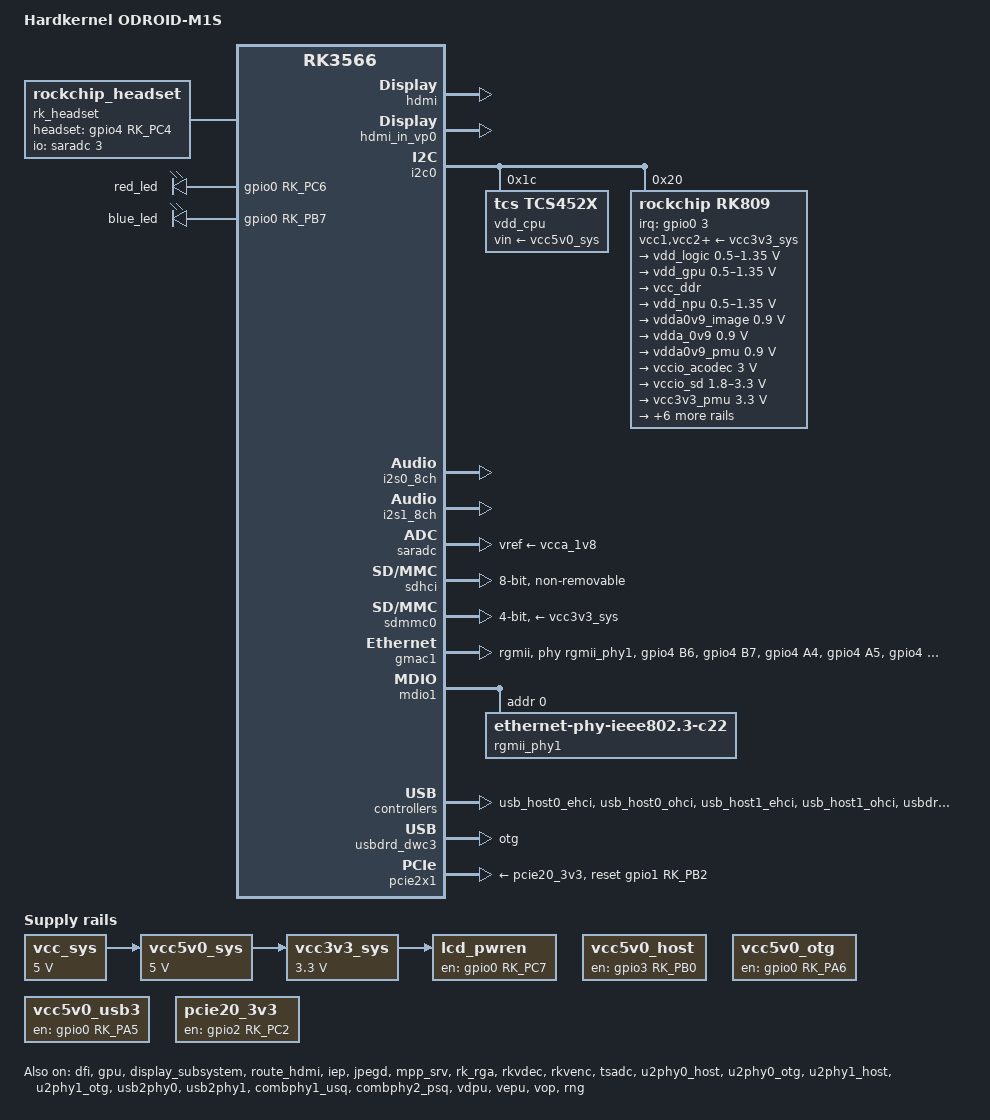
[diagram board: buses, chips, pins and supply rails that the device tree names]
// SPDX-License-Identifier: (GPL-2.0+ OR MIT)
/*
 * Copyright (c) 2023 Hardkernel Co., Ltd.
 *
 */

/dts-v1/;

#include <dt-bindings/gpio/gpio.h>
#include <dt-bindings/pwm/pwm.h>
#include <dt-bindings/pinctrl/rockchip.h>
#include <dt-bindings/input/rk-input.h>
#include <dt-bindings/display/drm_mipi_dsi.h>
#include <dt-bindings/sensor-dev.h>
#include "rk3566.dtsi"

/ {
	model = "Hardkernel ODROID-M1S";
	compatible = "rockchip,rk3566";

	aliases {
		serial0 = &uart6;
		serial1 = &uart0;
		serial6 = &uart1;
		spi0 = &spi1;
		spi1 = &spi0;
		i2c0 = &i2c3;
		i2c3 = &i2c0;
	};

	backlight: backlight {
		compatible = "pwm-backlight";
		status = "disabled";

		pwms = <&pwm4 0 25000 0>;
		brightness-levels = <
			0  20  20  21  21  22  22  23
			23  24  24  25  25  26  26  27
			27  28  28  29  29  30  30  31
			31  32  32  33  33  34  34  35
			35  36  36  37  37  38  38  39
			40  41  42  43  44  45  46  47
			48  49  50  51  52  53  54  55
			56  57  58  59  60  61  62  63
			64  65  66  67  68  69  70  71
			72  73  74  75  76  77  78  79
			80  81  82  83  84  85  86  87
			88  89  90  91  92  93  94  95
			96  97  98  99 100 101 102 103
			104 105 106 107 108 109 110 111
			112 113 114 115 116 117 118 119
			120 121 122 123 124 125 126 127
			128 129 130 131 132 133 134 135
			136 137 138 139 140 141 142 143
			144 145 146 147 148 149 150 151
			152 153 154 155 156 157 158 159
			160 161 162 163 164 165 166 167
			168 169 170 171 172 173 174 175
			176 177 178 179 180 181 182 183
			184 185 186 187 188 189 190 191
			192 193 194 195 196 197 198 199
			200 201 202 203 204 205 206 207
			208 209 210 211 212 213 214 215
			216 217 218 219 220 221 222 223
			224 225 226 227 228 229 230 231
			232 233 234 235 236 237 238 239
			240 241 242 243 244 245 246 247
			248 249 250 251 252 253 254 255
			>;
		default-brightness-level = <200>;
	};

	fiq_debugger: fiq-debugger {
		compatible = "rockchip,fiq-debugger";
		rockchip,serial-id = <2>;
		rockchip,wake-irq = <0>;
		/* If enable uart uses irq instead of fiq */
		rockchip,irq-mode-enable = <1>;
		rockchip,baudrate = <1500000>;  /* Only 115200 and 1500000 */
		interrupts = <GIC_SPI 252 IRQ_TYPE_LEVEL_LOW>;
		pinctrl-names = "default";
		pinctrl-0 = <&uart2m0_xfer>;
		status = "okay";
	};

	debug: debug@fd904000 {
		compatible = "rockchip,debug";
		reg = <0x0 0xfd904000 0x0 0x1000>,
			<0x0 0xfd905000 0x0 0x1000>,
			<0x0 0xfd906000 0x0 0x1000>,
			<0x0 0xfd907000 0x0 0x1000>;
	};

	cspmu: cspmu@fd90c000 {
		compatible = "rockchip,cspmu";
		reg = <0x0 0xfd90c000 0x0 0x1000>,
			<0x0 0xfd90d000 0x0 0x1000>,
			<0x0 0xfd90e000 0x0 0x1000>,
			<0x0 0xfd90f000 0x0 0x1000>;
	};

	hdmi_sound: hdmi-sound {
		compatible = "simple-audio-card";
		simple-audio-card,format = "i2s";
		simple-audio-card,mclk-fs = <128>;
		simple-audio-card,name = "rockchip-hdmi0";
		status = "okay";

		simple-audio-card,cpu {
			sound-dai = <&i2s0_8ch>;
		};
		simple-audio-card,codec {
			sound-dai = <&hdmi>;
		};
	};

	pdmics: dummy-codec {
		status = "disabled";
		compatible = "rockchip,dummy-codec";
		#sound-dai-cells = <0>;
	};

	pdm_mic_array: pdm-mic-array {
		status = "disabled";
		compatible = "simple-audio-card";
		simple-audio-card,name = "rockchip,pdm-mic-array";
		simple-audio-card,cpu {
			sound-dai = <&pdm>;
		};
		simple-audio-card,codec {
			sound-dai = <&pdmics>;
		};
	};

	rk809_sound: rk809-sound {
		status = "okay";
		compatible = "simple-audio-card";
		simple-audio-card,format = "i2s";
		simple-audio-card,name = "rockchip-rk809";
		simple-audio-card,mclk-fs = <256>;

		simple-audio-card,cpu {
			sound-dai = <&i2s1_8ch>;
		};
		simple-audio-card,codec {
			sound-dai = <&rk809_codec>;
		};
	};

	spdif_sound: spdif-sound {
		status = "disabled";
		compatible = "simple-audio-card";
		simple-audio-card,name = "ROCKCHIP,SPDIF";
		simple-audio-card,cpu {
			sound-dai = <&spdif_8ch>;
		};
		simple-audio-card,codec {
			sound-dai = <&spdif_out>;
		};
	};

	spdif_out: spdif-out {
		status = "disabled";
		compatible = "linux,spdif-dit";
		#sound-dai-cells = <0>;
	};

	rk_headset: rk-headset {
		compatible = "rockchip_headset";
		headset_gpio = <&gpio4 RK_PC4 GPIO_ACTIVE_HIGH>;
		pinctrl-names = "default";
		pinctrl-0 = <&hp_det>;
		io-channels = <&saradc 3>;	//HP_HOOK
	};

	rk3566-gpiomem {
		compatible = "rockchip,rk3566-gpiomem", "rockchip,rk3568-gpiomem";
		status = "okay";
	};

	vcc_sys: vcc-5v {
		compatible = "regulator-fixed";
		regulator-name = "vcc-5v";
		regulator-always-on;
		regulator-boot-on;
		regulator-min-microvolt = <5000000>;
		regulator-max-microvolt = <5000000>;
	};

	vcc3v3_sys: vcc3v3-sys {
		compatible = "regulator-fixed";
		regulator-name = "vcc3v3_sys";
		regulator-always-on;
		regulator-boot-on;
		regulator-min-microvolt = <3300000>;
		regulator-max-microvolt = <3300000>;
		vin-supply = <&vcc5v0_sys>;
	};

	vcc5v0_sys: vcc5v0-sys {
		compatible = "regulator-fixed";
		regulator-name = "vcc5v0_sys";
		regulator-always-on;
		regulator-boot-on;
		regulator-min-microvolt = <5000000>;
		regulator-max-microvolt = <5000000>;
		vin-supply = <&vcc_sys>;
	};

	vcc5v0_host: vcc5v0-host-regulator {
		compatible = "regulator-fixed";
		enable-active-high;
		gpio = <&gpio3 RK_PB0 GPIO_ACTIVE_HIGH>;
		pinctrl-names = "default";
		pinctrl-0 = <&vcc5v0_host_en>;
		regulator-name = "vcc5v0_host";
		regulator-always-on;
		regulator-boot-on;
	};

	vcc5v0_otg: vcc5v0-otg-regulator {
		compatible = "regulator-fixed";
		enable-active-high;
		gpio = <&gpio0 RK_PA6 GPIO_ACTIVE_HIGH>;
		pinctrl-names = "default";
		pinctrl-0 = <&vcc5v0_otg_en>;
		regulator-name = "vcc5v0_otg";
	};

	vcc5v0_usb3: vcc5v0-usb3-regulator {
		compatible = "regulator-fixed";
		enable-active-high;
		gpios = <&gpio0 RK_PA5 GPIO_ACTIVE_HIGH>;
		pinctrl-names = "default";
		pinctrl-0 = <&vcc5v0_usb3_en>;
		regulator-name = "vcc5v0_usb3";
		regulator-always-on;
		regulator-boot-on;
	};

	pcie20_3v3: pcie20-3v3-regulator {
		compatible = "regulator-fixed";
		enable-active-high;
		gpios = <&gpio2 RK_PC2 GPIO_ACTIVE_HIGH>;
		pinctrl-names = "default";
		pinctrl-0 = <&pcie20_3v3_en>;
		regulator-name = "pcie20_3v3";
		regulator-always-on;
		regulator-boot-on;
	};

	lcd_pwren: lcd-pwren {
		compatible = "regulator-fixed";
		regulator-name = "lcd_pwren";
		enable-active-high;
		gpio = <&gpio0 RK_PC7 GPIO_ACTIVE_HIGH>;
		pinctrl-names = "default";
		pinctrl-0 = <&lcd_pwr_en>;
		regulator-always-on;
		regulator-boot-on;
		vin-supply = <&vcc3v3_sys>;
	};


	leds {
		compatible = "gpio-leds";
		status = "okay";

		red_led: red {
			gpios = <&gpio0 RK_PC6 GPIO_ACTIVE_HIGH>;
			linux,default-trigger = "default-on";
		};
		blue_led: blue {
			gpios = <&gpio0 RK_PB7 GPIO_ACTIVE_HIGH>;
			linux,default-trigger = "heartbeat";
		};
	};
};

&can0 {
	compatible = "rockchip,canfd-1.0";
	pinctrl-names = "default";
	pinctrl-0 = <&can0m0_pins>;
	assigned-clocks = <&cru CLK_CAN0>;
	assigned-clock-rates = <200000000>;
	status = "disabled";
};

&cpu0 {
	cpu-supply = <&vdd_cpu>;
};

&threshold {
	temperature = <60000>;
};

&dfi {
	status = "okay";
};

&gpu {
	mali-supply = <&vdd_gpu>;
	status = "okay";
};

&display_subsystem {
    status = "okay";
};

&hdmi {
	status = "okay";
};

&hdmi_in_vp0 {
	status = "okay";
};

&hdmi_in_vp1 {
	status = "disabled";
};

&hdmi_sound {
	status = "okay";
};

&route_hdmi {
	status = "okay";
	connect = <&vp0_out_hdmi>;
};

&i2c0 {
	status = "okay";
	vdd_cpu: tcs4525@1c {
		compatible = "tcs,tcs452x";
		reg = <0x1c>;
		vin-supply = <&vcc5v0_sys>;
		regulator-compatible = "fan53555-reg";
		regulator-name = "vdd_cpu";
		regulator-min-microvolt = <712500>;
		regulator-max-microvolt = <1390000>;
		regulator-init-microvolt = <900000>;
		regulator-ramp-delay = <2300>;
		fcs,suspend-voltage-selector = <1>;
		regulator-boot-on;
		regulator-always-on;
		regulator-state-mem {
			regulator-off-in-suspend;
		};
	};

	rk809: pmic@20 {
		compatible = "rockchip,rk809";
		reg = <0x20>;
		interrupt-parent = <&gpio0>;
		interrupts = <3 IRQ_TYPE_LEVEL_LOW>;

		pinctrl-names = "default", "pmic-sleep",
				"pmic-power-off", "pmic-reset";
		pinctrl-0 = <&pmic_int>;
		pinctrl-1 = <&soc_slppin_slp>, <&rk817_slppin_slp>;
		pinctrl-2 = <&soc_slppin_gpio>, <&rk817_slppin_pwrdn>;
		pinctrl-3 = <&soc_slppin_gpio>, <&rk817_slppin_rst>;

		rockchip,system-power-controller;
		wakeup-source;
		#clock-cells = <1>;
		clock-output-names = "rk808-clkout1", "rk808-clkout2";
		//fb-inner-reg-idxs = <2>;
		/* 1: rst regs (default in codes), 0: rst the pmic */
		pmic-reset-func = <0>;
		/* not save the PMIC_POWER_EN register in uboot */
		not-save-power-en = <1>;

		vcc1-supply = <&vcc3v3_sys>;
		vcc2-supply = <&vcc3v3_sys>;
		vcc3-supply = <&vcc3v3_sys>;
		vcc4-supply = <&vcc3v3_sys>;
		vcc5-supply = <&vcc3v3_sys>;
		vcc6-supply = <&vcc3v3_sys>;
		vcc7-supply = <&vcc3v3_sys>;
		vcc8-supply = <&vcc3v3_sys>;
		vcc9-supply = <&vcc3v3_sys>;

		pwrkey {
			status = "okay";
		};

		pinctrl_rk8xx: pinctrl_rk8xx {
			gpio-controller;
			#gpio-cells = <2>;

			rk817_slppin_null: rk817_slppin_null {
				pins = "gpio_slp";
				function = "pin_fun0";
			};

			rk817_slppin_slp: rk817_slppin_slp {
				pins = "gpio_slp";
				function = "pin_fun1";
			};

			rk817_slppin_pwrdn: rk817_slppin_pwrdn {
				pins = "gpio_slp";
				function = "pin_fun2";
			};

			rk817_slppin_rst: rk817_slppin_rst {
				pins = "gpio_slp";
				function = "pin_fun3";
			};
		};

		regulators {
			vdd_logic: DCDC_REG1 {
				regulator-always-on;
				regulator-boot-on;
				regulator-min-microvolt = <500000>;
				regulator-max-microvolt = <1350000>;
				regulator-init-microvolt = <900000>;
				regulator-ramp-delay = <6001>;
				regulator-initial-mode = <0x2>;
				regulator-name = "vdd_logic";
				regulator-state-mem {
					regulator-off-in-suspend;
				};
			};

			vdd_gpu: DCDC_REG2 {
				regulator-always-on;
				regulator-boot-on;
				regulator-min-microvolt = <500000>;
				regulator-max-microvolt = <1350000>;
				regulator-init-microvolt = <900000>;
				regulator-ramp-delay = <6001>;
				regulator-initial-mode = <0x2>;
				regulator-name = "vdd_gpu";
				regulator-state-mem {
					regulator-off-in-suspend;
				};
			};

			vcc_ddr: DCDC_REG3 {
				regulator-always-on;
				regulator-boot-on;
				regulator-initial-mode = <0x2>;
				regulator-name = "vcc_ddr";
				regulator-state-mem {
					regulator-on-in-suspend;
				};
			};

			vdd_npu: DCDC_REG4 {
				regulator-always-on;
				regulator-boot-on;
				regulator-min-microvolt = <500000>;
				regulator-max-microvolt = <1350000>;
				regulator-init-microvolt = <900000>;
				regulator-ramp-delay = <6001>;
				regulator-initial-mode = <0x2>;
				regulator-name = "vdd_npu";
				regulator-state-mem {
					regulator-off-in-suspend;
				};
			};

			vdda0v9_image: LDO_REG1 {
				regulator-boot-on;
				regulator-always-on;
				regulator-min-microvolt = <900000>;
				regulator-max-microvolt = <900000>;
				regulator-name = "vdda0v9_image";
				regulator-state-mem {
					regulator-off-in-suspend;
				};
			};

			vdda_0v9: LDO_REG2 {
				regulator-always-on;
				regulator-boot-on;
				regulator-min-microvolt = <900000>;
				regulator-max-microvolt = <900000>;
				regulator-name = "vdda_0v9";
				regulator-state-mem {
					regulator-off-in-suspend;
				};
			};

			vdda0v9_pmu: LDO_REG3 {
				regulator-always-on;
				regulator-boot-on;
				regulator-min-microvolt = <900000>;
				regulator-max-microvolt = <900000>;
				regulator-name = "vdda0v9_pmu";
				regulator-state-mem {
					regulator-on-in-suspend;
					regulator-suspend-microvolt = <900000>;
				};
			};

			vccio_acodec: LDO_REG4 {
				regulator-always-on;
				regulator-boot-on;
				regulator-min-microvolt = <3000000>;
				regulator-max-microvolt = <3000000>;
				regulator-name = "vccio_acodec";
				regulator-state-mem {
					regulator-off-in-suspend;
				};
			};

			vccio_sd: LDO_REG5 {
				regulator-always-on;
				regulator-boot-on;
				regulator-min-microvolt = <1800000>;
				regulator-max-microvolt = <3300000>;
				regulator-name = "vccio_sd";
				regulator-state-mem {
					regulator-off-in-suspend;
				};
			};

			vcc3v3_pmu: LDO_REG6 {
				regulator-always-on;
				regulator-boot-on;
				regulator-min-microvolt = <3300000>;
				regulator-max-microvolt = <3300000>;
				regulator-name = "vcc3v3_pmu";
				regulator-state-mem {
					regulator-on-in-suspend;
					regulator-suspend-microvolt = <3300000>;
				};
			};

			vcca_1v8: LDO_REG7 {
				regulator-always-on;
				regulator-boot-on;
				regulator-min-microvolt = <1800000>;
				regulator-max-microvolt = <1800000>;
				regulator-name = "vcca_1v8";
				regulator-state-mem {
					regulator-off-in-suspend;
				};
			};

			vcca1v8_ddr: LDO_REG8 {
				regulator-always-on;
				regulator-boot-on;
				regulator-min-microvolt = <1800000>;
				regulator-max-microvolt = <1800000>;
				regulator-name = "vcca1v8_pmu";
				regulator-state-mem {
					regulator-on-in-suspend;
					regulator-suspend-microvolt = <1800000>;
				};
			};

			vcca1v8_image: LDO_REG9 {
				regulator-always-on;
				regulator-boot-on;
				regulator-min-microvolt = <1800000>;
				regulator-max-microvolt = <1800000>;
				regulator-name = "vcca1v8_image";
				regulator-state-mem {
					regulator-off-in-suspend;
				};
			};

			vcc_1v8: DCDC_REG5 {
				regulator-always-on;
				regulator-boot-on;
				regulator-min-microvolt = <1800000>;
				regulator-max-microvolt = <1800000>;
				regulator-name = "vcc_1v8";
				regulator-state-mem {
					regulator-off-in-suspend;
				};
			};

			vcc_3v3: SWITCH_REG1 {
				regulator-always-on;
				regulator-boot-on;
				regulator-name = "vcc_3v3";
				regulator-state-mem {
					regulator-off-in-suspend;
				};
			};

			vcc3v3_sd: SWITCH_REG2 {
				regulator-always-on;
				regulator-boot-on;
				regulator-name = "vcc3v3_sd";
				regulator-state-mem {
					regulator-off-in-suspend;
				};
			};
		};

		rk809_codec: codec {
			#sound-dai-cells = <0>;
			compatible = "rockchip,rk809-codec", "rockchip,rk817-codec";
			clocks = <&cru I2S1_MCLKOUT>;
			clock-names = "mclk";
			assigned-clocks = <&cru I2S1_MCLKOUT>, <&cru I2S1_MCLK_TX_IOE>;
			assigned-clock-rates = <12288000>;
			assigned-clock-parents = <&cru I2S1_MCLKOUT_TX>, <&cru I2S1_MCLKOUT_TX>;
			pinctrl-names = "default";
			pinctrl-0 = <&i2s1m0_mclk>;
			hp-volume = <3>;
			spk-volume = <3>;
			mic-in-differential;
			status = "okay";
		};
	};
};

&gpio0 {
	gpio-line-names =
		/* GPIO0_A0-A3 */
		"", "", "", "",
		/* GPIO0_A4-A7 */
		"", "", "", "",

		/* GPIO0_B0-B3 */
		"", "", "", "PIN_28",
		/* GPIO0_B4-B7 */
		"PIN_27", "PIN_33", "PIN_7", "",

		/* GPIO0_C0-C3 */
		"PIN_11", "PIN_13", "PIN_15", "",
		/* GPIO0_C4-C7 */
		"", "", "", "",

		/* GPIO0_D0-D3 */
		"", "", "", "",
		/* GPIO0_D4-D7 */
		"", "", "", "";
};

&gpio1 {
	gpio-line-names =
		/* GPIO1_A0-A3 */
		"", "", "", "",
		/* GPIO1_A4-A7 */
		"", "", "", "",

		/* GPIO1_B0-B3 */
		"", "", "", "",
		/* GPIO1_B4-B7 */
		"", "", "", "",

		/* GPIO1_C0-C3 */
		"", "", "", "",
		/* GPIO1_C4-C7 */
		"", "", "", "",

		/* GPIO1_D0-D3 */
		"", "", "", "",
		/* GPIO1_D4-D7 */
		"", "", "", "";
};

&gpio2 {
	gpio-line-names =
		/* GPIO2_A0-A3 */
		"", "", "", "PIN_10",
		/* GPIO2_A4-A7 */
		"PIN_8", "PIN_35", "PIN_36", "PIN_12",

		/* GPIO2_B0-B3 */
		"PIN_22", "PIN_26", "PIN_32", "",
		/* GPIO2_B4-B7 */
		"", "PIN_16", "PIN_18", "PIN_31",

		/* GPIO2_C0-C3 */
		"PIN_29", "", "", "",
		/* GPIO2_C4-C7 */
		"", "", "", "",

		/* GPIO2_D0-D3 */
		"", "", "", "",
		/* GPIO2_D4-D7 */
		"", "", "", "";
};

&gpio3 {
	gpio-line-names =
		/* GPIO3_A0-A3 */
		"", "PIN_24", "", "",
		/* GPIO3_A4-A7 */
		"", "", "", "",

		/* GPIO3_B0-B3 */
		"", "", "", "EXTPIN_13",
		/* GPIO3_B4-B7 */
		"EXTPIN_14", "PIN_5", "PIN_3", "",

		/* GPIO3_C0-C3 */
		"", "PIN_19", "PIN_21", "PIN_23",
		/* GPIO3_C4-C7 */
		"EXTPIN_11", "EXTPIN_12", "", "",

		/* GPIO3_D0-D3 */
		"", "", "", "",
		/* GPIO3_D4-D7 */
		"", "", "", "";
};

&gpio4 {
	gpio-line-names =
		/* GPIO4_A0-A3 */
		"", "", "", "",
		/* GPIO4_A4-A7 */
		"", "", "", "",

		/* GPIO4_B0-B3 */
		"", "", "", "",
		/* GPIO4_B4-B7 */
		"", "", "", "",

		/* GPIO4_C0-C3 */
		"", "", "", "",
		/* GPIO4_C4-C7 */
		"", "", "", "",

		/* GPIO4_D0-D3 */
		"", "", "", "",
		/* GPIO4_D4-D7 */
		"", "", "", "";
};

&i2c2 {
	status = "disabled";

	pinctrl-names = "default";
	pinctrl-0 = <&i2c2m1_xfer>;

	clock-frequency = <400000>;

	touchscreen: touchscreen {
		status = "disabled";

		pinctrl-names = "default";
		pinctrl-0 = <&touch_gpios>;

		interrupt-parent = <&gpio0>;
		interrupts = <RK_PC4 IRQ_TYPE_LEVEL_LOW>;

		irq-gpios = <&gpio0 RK_PC4 IRQ_TYPE_LEVEL_LOW>;
		reset-gpios = <&gpio4 RK_PB2 GPIO_ACTIVE_LOW>;
	};
};

&i2c3 {
	status = "disabled";
	pinctrl-names = "default";
	pinctrl-0 = <&i2c3m1_xfer>;
};

&i2s0_8ch {
	status = "okay";
};

&i2s1_8ch {
	status = "okay";
	rockchip,clk-trcm = <1>;
	pinctrl-names = "default";
	pinctrl-0 = <&i2s1m0_sclktx
		     &i2s1m0_lrcktx
		     &i2s1m0_sdi0
		     &i2s1m0_sdo0>;
};

&iep {
	status = "okay";
};

&iep_mmu {
	status = "okay";
};

&jpegd {
	status = "okay";
};

&jpegd_mmu {
	status = "okay";
};

&mpp_srv {
	status = "okay";
};

&pmu_io_domains {
	status = "okay";
	pmuio2-supply = <&vcc3v3_pmu>;
	vccio1-supply = <&vccio_acodec>;
	vccio3-supply = <&vccio_sd>;
	vccio4-supply = <&vcc_3v3>;
	vccio5-supply = <&vcc_3v3>;
	vccio6-supply = <&vcc_3v3>;
	vccio7-supply = <&vcc_3v3>;
};

&pwm1 {
	status = "disabled";
	pinctrl-0 = <&pwm1m1_pins>;
};

&rk_rga {
	status = "okay";
};

&rkvdec {
	status = "okay";
};

&rkvdec_mmu {
	status = "okay";
};

&rkvenc {
	venc-supply = <&vdd_logic>;
	status = "okay";
};

&rkvenc_mmu {
	status = "okay";
};

&rknpu {
	rknpu-supply = <&vdd_npu>;
};

&rknpu_mmu {
	status = "disabled";
};

&saradc {
	status = "okay";
	vref-supply = <&vcca_1v8>;
};

&sdhci {
	pinctrl-0 = <&emmc_bus8
		&emmc_clk
		&emmc_cmd
		&emmc_datastrobe
		&emmc_rstnout>;
	pinctrl-names = "default";

	bus-width = <8>;
	supports-emmc;
	non-removable;
	max-frequency = <200000000>;
	mmc-hs200-1_8v;
	cap-mmc-hw-reset;
	status = "okay";
};

&sdmmc0 {
	max-frequency = <150000000>;
	supports-sd;
	no-sdio;
	no-mmc;
	bus-width = <4>;
	cap-mmc-highspeed;
	cap-sd-highspeed;
	disable-wp;
	num-slots = <1>;
	sd-uhs-sdr104;
	vmmc-supply = <&vcc3v3_sys>;
	vqmmc-supply = <&vccio_sd>;
	pinctrl-names = "default";
	pinctrl-0 = <&sdmmc0_bus4 &sdmmc0_clk &sdmmc0_cmd &sdmmc0_det>;
	status = "okay";
};

&spi1 {
	pinctrl-0 = <&spi1m1_pins>;
	pinctrl-1 = <&spi1m1_pins_hs>;
	num_chipselect = <1>;

	cs-gpios = <&gpio3 RK_PA1 GPIO_ACTIVE_LOW>;
};

&uart1 {
	pinctrl-names = "default";
	pinctrl-0 = <&uart1m0_xfer &uart1m0_ctsn &uart1m0_rtsn>;
};

&uart5 {
	pinctrl-0 = <&uart5m1_xfer>;
};

&uart6 {
	dma-names = "tx", "rx";
	pinctrl-1 = <&uart6m0_xfer &uart6m0_ctsn &uart6m0_rtsn>;
};

&gmac1 {
	phy-mode = "rgmii";
	clock_in_out = "input";

	snps,reset-gpio = <&gpio3 RK_PB7 GPIO_ACTIVE_LOW>;
	snps,reset-active-low;
	/* Reset time is 20ms, 100ms for rtl8211f */
	snps,reset-delays-us = <0 20000 100000>;

	assigned-clocks = <&cru SCLK_GMAC1_RX_TX>, <&cru SCLK_GMAC1>;
	assigned-clock-parents =  <&cru SCLK_GMAC1_RGMII_SPEED>, <&gmac1_clkin>;

	pinctrl-names = "default";
	pinctrl-0 = <&gmac1m1_miim
		     &gmac1m1_tx_bus2
		     &gmac1m1_rx_bus2
		     &gmac1m1_rgmii_clk
		     &gmac1m1_rgmii_bus
		     &gmac1m1_clkinout>;

	tx_delay = <0x4f>;
	rx_delay = <0x2d>;

	phy-handle = <&rgmii_phy1>;
	status = "okay";
};

&mdio1 {
	rgmii_phy1: phy@0 {
		compatible = "ethernet-phy-ieee802.3-c22";
		reg = <0x0>;
	};
};

&spdif_8ch {
	status = "disabled";
};

&tsadc {
	status = "okay";
};

&u2phy0_host {
	phy-supply = <&vcc5v0_usb3>;
	status = "okay";
};

&u2phy0_otg {
	vbus-supply = <&vcc5v0_otg>;
	status = "okay";
};

&u2phy1_host {
	phy-supply = <&vcc5v0_host>;
	status = "okay";
};

&u2phy1_otg {
	phy-supply = <&vcc5v0_host>;
	status = "okay";
};

&usb2phy0 {
	status = "okay";
	pinctrl-names = "default";
};

&usb2phy1 {
	status = "okay";
};

&usb_host0_ehci {
	status = "okay";
};

&usb_host0_ohci {
	status = "okay";
};

&usb_host1_ehci {
	status = "okay";
};

&usb_host1_ohci {
	status = "okay";
};

&usbdrd_dwc3 {
	dr_mode = "otg";
	status = "okay";
};

&usbdrd30 {
	status = "okay";
};

&usbhost_dwc3 {
	status = "okay";
};

&usbhost30 {
	status = "okay";
};

&pcie2x1 {
	reset-gpios = <&gpio1 RK_PB2 GPIO_ACTIVE_HIGH>;
	vpcie3v3-supply = <&pcie20_3v3>;
	pinctrl-0 = <&pcie20m2_pins>;
	status = "okay";
};

&combphy1_usq {
	status = "okay";
};

&combphy2_psq {
	status = "okay";
};

&vdpu {
	status = "okay";
};

&vdpu_mmu {
	status = "okay";
};

&vepu {
	status = "okay";
};

&vepu_mmu {
	status = "okay";
};

&vop {
	status = "okay";
	assigned-clocks = <&cru DCLK_VOP0>, <&cru DCLK_VOP1>;
	assigned-clock-parents = <&pmucru PLL_HPLL>, <&cru PLL_VPLL>;
};

&vop_mmu {
	status = "okay";
};

&reserved_memory {
	ramoops: ramoops@110000 {
		compatible = "ramoops";
		reg = <0x0 0x110000 0x0 0xf0000>;
		record-size = <0x20000>;
		console-size = <0x80000>;
		ftrace-size = <0x00000>;
		pmsg-size = <0x50000>;
	};
};

&rng {
	status = "okay";
};

&rockchip_suspend {
	status = "okay";
	rockchip,sleep-debug-en = <1>;
	rockchip,sleep-mode-config = <
		(0
		| RKPM_SLP_CENTER_OFF
		| RKPM_SLP_HW_PLLS_OFF
		| RKPM_SLP_PMUALIVE_32K
		| RKPM_SLP_32K_PVTM
		)
	>;
	rockchip,wakeup-config = <
		(0
		| RKPM_GPIO_WKUP_EN
		| RKPM_USB_WKUP_EN
		)
	>;
};

&pinctrl {
	can_pins {
		mcp2515_int_pins: mcp2515_int_pins {
			rockchip,pins = <0 RK_PC0 RK_FUNC_GPIO &pcfg_pull_none>;
		};

		stepper_canfd_int_pins: stepper_canfd_int_pins {
			rockchip,pins = <2 RK_PB0 RK_FUNC_GPIO &pcfg_pull_none>;
		};
	};

	gmac1 {
		/omit-if-no-ref/
		gmac1m1_miim: gmac1m1-miim {
			rockchip,pins =
				/* gmac1_mdcm1 */
				<4 RK_PB6 3 &pcfg_pull_none_drv_level_15>,
				/* gmac1_mdiom1 */
				<4 RK_PB7 3 &pcfg_pull_none_drv_level_15>;
		};

		/omit-if-no-ref/
		gmac1m1_clkinout: gmac1m1-clkinout {
			rockchip,pins =
				/* gmac1_mclkinoutm1 */
				<4 RK_PC1 3 &pcfg_pull_none_drv_level_15>;
		};

		/omit-if-no-ref/
		gmac1m1_rx_bus2: gmac1m1-rx-bus2 {
			rockchip,pins =
				/* gmac1_rxd0m1 */
				<4 RK_PA7 3 &pcfg_pull_none_drv_level_15>,
				/* gmac1_rxd1m1 */
				<4 RK_PB0 3 &pcfg_pull_none_drv_level_15>,
				/* gmac1_rxdvcrsm1 */
				<4 RK_PB1 3 &pcfg_pull_none_drv_level_15>;
		};

		/omit-if-no-ref/
		gmac1m1_tx_bus2: gmac1m1-tx-bus2 {
			rockchip,pins =
				/* gmac1_txd0m1 */
				<4 RK_PA4 3 &pcfg_pull_none_drv_level_15>,
				/* gmac1_txd1m1 */
				<4 RK_PA5 3 &pcfg_pull_none_drv_level_15>,
				/* gmac1_txenm1 */
				<4 RK_PA6 3 &pcfg_pull_none_drv_level_15>;
		};

		/omit-if-no-ref/
		gmac1m1_rgmii_clk: gmac1m1-rgmii-clk {
			rockchip,pins =
				/* gmac1_rxclkm1 */
				<4 RK_PA3 3 &pcfg_pull_none_drv_level_15>,
				/* gmac1_txclkm1 */
				<4 RK_PA0 3 &pcfg_pull_none_drv_level_15>;
		};

		/omit-if-no-ref/
		gmac1m1_rgmii_bus: gmac1m1-rgmii-bus {
			rockchip,pins =
				/* gmac1_rxd2m1 */
				<4 RK_PA1 3 &pcfg_pull_none_drv_level_15>,
				/* gmac1_rxd3m1 */
				<4 RK_PA2 3 &pcfg_pull_none_drv_level_15>,
				/* gmac1_txd2m1 */
				<3 RK_PD6 3 &pcfg_pull_none_drv_level_15>,
				/* gmac1_txd3m1 */
				<3 RK_PD7 3 &pcfg_pull_none_drv_level_15>;
		};
	};

	headphone {
		hp_det: hp-det {
			rockchip,pins = <4 RK_PC4 RK_FUNC_GPIO &pcfg_pull_up>;
		};
	};

	leds {
		led_ctl: led-ctl {
			rockchip,pins = <0 RK_PA0 RK_FUNC_GPIO &pcfg_pull_none>;
		};
	};


	lcd {
		lcd_pwr_en: lcd-pwr-en {
			rockchip,pins = <0 RK_PC7 RK_FUNC_GPIO &pcfg_pull_none>;
		};

		lcd_rst_gpio: lcd-rst-gpio {
			rockchip,pins = <2 RK_PC6 RK_FUNC_GPIO &pcfg_pull_none>;
		};

		touch_gpios: touch-gpios {
			rockchip,pins =
				<4 RK_PB2 RK_FUNC_GPIO &pcfg_pull_up>,
				<0 RK_PC4 RK_FUNC_GPIO &pcfg_pull_up>;
		};

	};

	pcie {
		pcie20_3v3_en: pcie20-3v3-en {
			rockchip,pins = <2 RK_PC2 RK_FUNC_GPIO &pcfg_pull_none>;
		};
	};

	pmic {
		pmic_int: pmic_int {
			rockchip,pins =
				<0 RK_PA3 RK_FUNC_GPIO &pcfg_pull_up>;
		};

		soc_slppin_gpio: soc_slppin_gpio {
			rockchip,pins =
				<0 RK_PA2 RK_FUNC_GPIO &pcfg_output_low_pull_down>;
		};

		soc_slppin_slp: soc_slppin_slp {
			rockchip,pins = <0 RK_PA2 1 &pcfg_pull_up>;
		};

		soc_slppin_rst: soc_slppin_rst {
			rockchip,pins = <0 RK_PA2 2 &pcfg_pull_none>;
		};
	};

	usb {
		vcc5v0_host_en: vcc5v0-host-en {
			rockchip,pins = <3 RK_PB0 RK_FUNC_GPIO &pcfg_pull_none>;
		};

		vcc5v0_otg_en: vcc5v0-otg-en {
			rockchip,pins = <0 RK_PA6 RK_FUNC_GPIO &pcfg_pull_none>;
		};

		vcc5v0_usb3_en: vcc5v0-usb3-en {
			rockchip,pins = <0 RK_PA5 RK_FUNC_GPIO &pcfg_pull_none>;
		};
	};

	tc358762 {
		vcc_mipi_en: vcc-mipi-en {
			rockchip,pins =
				<0 RK_PC7 RK_FUNC_GPIO &pcfg_pull_up>;
		};
	};
};

&dsi0 {
	status = "disabled";

	connect = <&vp1_out_dsi0>;

	dsi0_panel: panel@0 {
		#address-cells = <1>;
		#size-cells = <0>;

		/delete-property/ disable-delay-ms;
		/delete-property/ enable-delay-ms;
		/delete-property/ panel-exit-sequence;
		/delete-property/ panel-init-sequence;
		/delete-property/ reset-delay-ms;
		/delete-property/ prepare-delay-ms;
		/delete-property/ unprepare-delay-ms;

		status = "disabled";

		reg = <0>;

		backlight = <&backlight>;
		power-supply = <&lcd_pwren>;

		reset-gpios = <&gpio2 RK_PC6 GPIO_ACTIVE_LOW>;

		pinctrl-names = "default";
		pinctrl-0 = <&lcd_rst_gpio>;

		ports {
			#address-cells = <1>;
			#size-cells = <0>;

			port@0 {
				reg = <0>;

				panel_in_dsi: endpoint {
					remote-endpoint = <&dsi_out_panel>;
				};
			};
		};
	};

	ports {
		#address-cells = <1>;
		#size-cells = <0>;

		port@1 {
			reg = <1>;

			dsi_out_panel: endpoint {
				remote-endpoint = <&panel_in_dsi>;
			};
		};
	};
};
